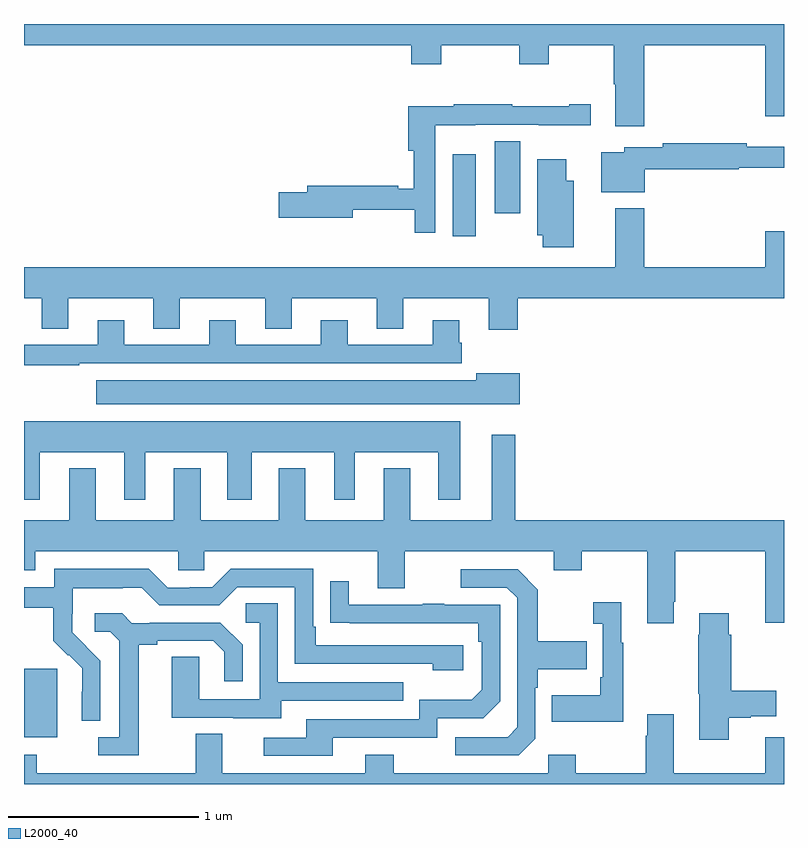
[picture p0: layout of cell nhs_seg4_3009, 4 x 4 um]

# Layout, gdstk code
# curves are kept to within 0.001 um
import gdstk
lib = gdstk.Library(unit=1e-6, precision=1e-09)
def R(c, l, rs):  # rectangles x0, y0, x1, y1
    for r in rs: c.add(gdstk.rectangle(r[:2], r[2:], *l))
def P(c, l, *ps):  # polygons
    for p in ps: c.add(gdstk.Polygon(p, *l))
L2000_40 = (2000, 40)

nhs_seg4_3009 = lib.new_cell('nhs_seg4_3009')
R(nhs_seg4_3009, L2000_40, [(269,825.146,269.176,825.507), (271.256,827.784,271.378,828.214), (271.478,827.904,271.612,828.284)])
P(nhs_seg4_3009, L2000_40, [(269,828.788),(271.037,828.788),(271.037,828.689),(271.197,828.689),(271.197,828.788),(271.606,828.788),(271.606,828.689),(271.761,828.689),(271.761,828.788),(272.104,828.788),(272.104,828.584),(272.111,828.584),(272.111,828.363),(272.264,828.363),(272.264,828.788),(272.9,828.788),(272.9,828.414),(273,828.414),(273,828.9),(269,828.9)],
  [(271.164,828.368),(271.374,828.368),(271.374,828.369),(271.708,828.369),(271.708,828.368),(271.984,828.368),(271.984,828.478),(271.871,828.478),(271.871,828.468),(271.571,828.468),(271.571,828.478),(271.261,828.478),(271.261,828.468),(271.022,828.468),(271.022,828.233),(271.052,828.233),(271.052,828.032),(270.971,828.032),(270.971,828.05),(270.491,828.05),(270.491,828.014),(270.342,828.014),(270.342,827.879),(270.73,827.879),(270.73,827.922),(271.056,827.922),(271.056,827.802),(271.164,827.802)],
  [(272.266,828.136),(272.762,828.136),(272.762,828.144),(273,828.144),(273,828.253),(272.804,828.253),(272.804,828.272),(272.362,828.272),(272.362,828.252),(272.16,828.252),(272.16,828.226),(272.039,828.226),(272.039,828.014),(272.266,828.014)],
  [(271.894,828.076),(271.855,828.076),(271.855,828.187),(271.7,828.187),(271.7,827.789),(271.729,827.789),(271.729,827.724),(271.894,827.724)],
  [(269,827.456),(269.093,827.456),(269.093,827.296),(269.233,827.296),(269.233,827.456),(269.681,827.456),(269.681,827.296),(269.821,827.296),(269.821,827.456),(270.269,827.456),(270.269,827.296),(270.409,827.296),(270.409,827.456),(270.857,827.456),(270.857,827.296),(270.997,827.296),(270.997,827.456),(271.445,827.456),(271.445,827.292),(271.598,827.292),(271.598,827.456),(273,827.456),(273,827.809),(272.9,827.809),(272.9,827.62),(272.264,827.62),(272.264,827.929),(272.111,827.929),(272.111,827.62),(269,827.62)],
  [(269.291,827.115),(271.304,827.115),(271.304,827.223),(271.291,827.223),(271.291,827.341),(271.151,827.341),(271.151,827.211),(270.703,827.211),(270.703,827.341),(270.563,827.341),(270.563,827.211),(270.115,827.211),(270.115,827.341),(269.975,827.341),(269.975,827.211),(269.527,827.211),(269.527,827.341),(269.387,827.341),(269.387,827.211),(269,827.211),(269,827.103),(269.291,827.103)],
  [(271.609,827.062),(271.379,827.062),(271.379,827.026),(269.379,827.026),(269.379,826.898),(271.609,826.898)],
  [(269.083,826.646),(269.528,826.646),(269.528,826.395),(269.638,826.395),(269.638,826.646),(270.071,826.646),(270.071,826.395),(270.199,826.395),(270.199,826.646),(270.632,826.646),(270.632,826.395),(270.742,826.395),(270.742,826.646),(271.181,826.646),(271.181,826.395),(271.297,826.395),(271.297,826.81),(269,826.81),(269,826.395),(269.083,826.395)],
  [(272.419,825.859),(272.427,825.859),(272.427,826.124),(272.9,826.124),(272.9,825.75),(273,825.75),(273,826.288),(271.585,826.288),(271.585,826.738),(271.463,826.738),(271.463,826.288),(271.033,826.288),(271.033,826.561),(270.893,826.561),(270.893,826.288),(270.481,826.288),(270.481,826.561),(270.341,826.561),(270.341,826.288),(269.929,826.288),(269.929,826.561),(269.789,826.561),(269.789,826.288),(269.377,826.288),(269.377,826.561),(269.237,826.561),(269.237,826.288),(269,826.288),(269,826.025),(269.059,826.025),(269.059,826.124),(269.811,826.124),(269.811,826.026),(269.949,826.026),(269.949,826.124),(270.863,826.124),(270.863,825.93),(271.003,825.93),(271.003,826.124),(271.787,826.124),(271.787,826.025),(271.935,826.025),(271.935,826.124),(272.279,826.124),(272.279,825.747),(272.419,825.747)],
  [(269.4,825.55),(269.254,825.698),(269.254,825.795),(269.256,825.795),(269.256,825.929),(269.519,825.929),(269.519,825.933),(269.619,825.933),(269.712,825.84),(270.027,825.84),(270.123,825.936),(270.426,825.936),(270.426,825.534),(271.151,825.534),(271.151,825.5),(271.312,825.5),(271.312,825.63),(270.535,825.63),(270.535,825.727),(270.522,825.727),(270.522,826.032),(270.087,826.032),(269.991,825.936),(269.873,825.936),(269.873,825.933),(269.757,825.933),(269.657,826.033),(269.16,826.033),(269.16,825.936),(269,825.936),(269,825.828),(269.155,825.828),(269.155,825.653),(269.232,825.576),(269.235,825.579),(269.306,825.509),(269.306,825.386),(269.304,825.386),(269.304,825.232),(269.4,825.232)],
  [(271.692,825.138),(271.692,825.407),(271.705,825.407),(271.705,825.503),(271.961,825.503),(271.961,825.651),(271.705,825.651),(271.705,825.923),(271.599,826.029),(271.299,826.029),(271.299,825.933),(271.542,825.933),(271.596,825.879),(271.596,825.198),(271.545,825.147),(271.269,825.147),(271.269,825.051),(271.605,825.051)],
  [(270.625,825.144),(271.176,825.144),(271.176,825.246),(271.416,825.246),(271.506,825.336),(271.506,825.843),(271.211,825.843),(271.211,825.848),(271.099,825.848),(271.099,825.843),(270.709,825.843),(270.709,825.967),(270.613,825.967),(270.613,825.748),(271.39,825.747),(271.39,825.65),(271.41,825.65),(271.41,825.396),(271.357,825.343),(271.08,825.343),(271.08,825.24),(270.485,825.24),(270.485,825.144),(270.261,825.144),(270.261,825.048),(270.625,825.048)],
  [(272.155,825.643),(272.143,825.643),(272.143,825.856),(271.995,825.856),(271.995,825.743),(272.046,825.743),(272.046,825.463),(272.034,825.463),(272.034,825.367),(271.777,825.367),(271.777,825.227),(272.155,825.227)],
  [(270.355,825.339),(270.995,825.339),(270.995,825.435),(270.336,825.435),(270.336,825.851),(270.168,825.851),(270.168,825.75),(270.24,825.75),(270.24,825.345),(269.922,825.345),(269.922,825.569),(269.777,825.569),(269.777,825.249),(270.101,825.249),(270.101,825.245),(270.355,825.245)],
  [(272.71,825.25),(272.826,825.25),(272.826,825.257),(272.959,825.257),(272.959,825.392),(272.723,825.392),(272.723,825.686),(272.71,825.686),(272.71,825.799),(272.555,825.799),(272.555,825.686),(272.548,825.686),(272.548,825.375),(272.555,825.375),(272.555,825.132),(272.71,825.132)],
  [(269.605,825.632),(269.701,825.632),(269.701,825.654),(269.996,825.654),(270.053,825.597),(270.053,825.441),(270.15,825.441),(270.15,825.634),(270.034,825.75),(269.662,825.75),(269.662,825.747),(269.568,825.747),(269.516,825.799),(269.373,825.799),(269.373,825.702),(269.454,825.702),(269.501,825.655),(269.501,825.147),(269.391,825.147),(269.391,825.051),(269.605,825.051)],
  [(273,825.145),(272.9,825.145),(272.9,824.956),(272.419,824.956),(272.419,825.268),(272.279,825.268),(272.279,825.155),(272.272,825.155),(272.272,824.956),(271.905,824.956),(271.905,825.055),(271.758,825.055),(271.758,824.956),(270.945,824.956),(270.945,825.055),(270.797,825.055),(270.797,824.956),(270.043,824.956),(270.043,825.164),(269.903,825.164),(269.903,824.956),(269.067,824.956),(269.067,825.055),(269,825.055),(269,824.9),(273,824.9)])

lib.write_gds('nhs_seg4_3009.gds')
